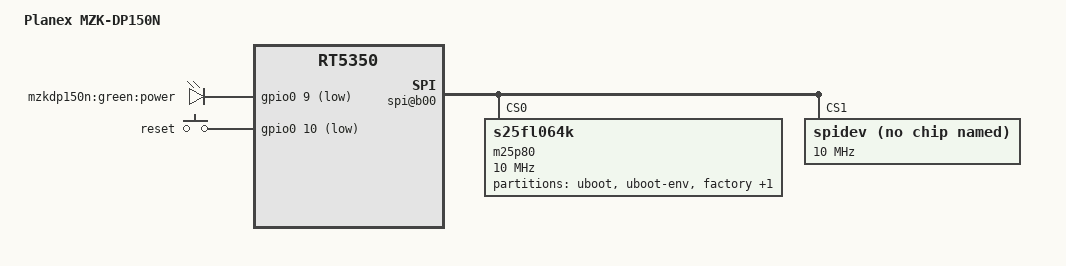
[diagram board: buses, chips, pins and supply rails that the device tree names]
/dts-v1/;

/include/ "rt5350.dtsi"

/ {
	compatible = "MZK-DP150N", "ralink,rt5350-soc";
	model = "Planex MZK-DP150N";

	palmbus@10000000 {
		gpio1: gpio@660 {
			status = "okay";
		};

		spi@b00 {
			status = "okay";

			m25p80@0 {
				#address-cells = <1>;
				#size-cells = <1>;
				compatible = "s25fl064k";
				reg = <0>;
				linux,modalias = "m25p80", "s25fl064k";
				spi-max-frequency = <10000000>;

				partition@0 {
					label = "uboot";
					reg = <0x0 0x30000>;
					read-only;
				};

				partition@30000 {
					label = "uboot-env";
					reg = <0x30000 0x10000>;
					read-only;
				};

				factory: partition@40000 {
					label = "factory";
					reg = <0x40000 0x10000>;
					read-only;
				};

				partition@50000 {
					label = "firmware";
					reg = <0x50000 0x3b0000>;
				};
			};

			spidev@1 {
				compatible = "linux,spidev";
				spi-max-frequency = <10000000>;
				reg = <1>;
			};
		};
	};

	pinctrl {
		state_default: pinctrl0 {
			gpio {
				ralink,group = "jtag", "uartf", "led";
				ralink,function = "gpio";
			};
		};
	};

	ethernet@10100000 {
		mtd-mac-address = <&factory 0x4>;
	};

	esw@10110000 {
		ralink,portmap = <0x17>;
	};

	wmac@10180000 {
		ralink,mtd-eeprom = <&factory 0>;
		ralink,led-polarity = <1>;
	};

	gpio-leds {
		compatible = "gpio-leds";
		power {
			label = "mzkdp150n:green:power";
			gpios = <&gpio0 9 1>;
		};
	};

	gpio-keys-polled {
		compatible = "gpio-keys-polled";
		#address-cells = <1>;
		#size-cells = <0>;
		poll-interval = <20>;
		reset {
			label = "reset";
			gpios = <&gpio0 10 1>;
			linux,code = <0x198>;
		};
	};
};
